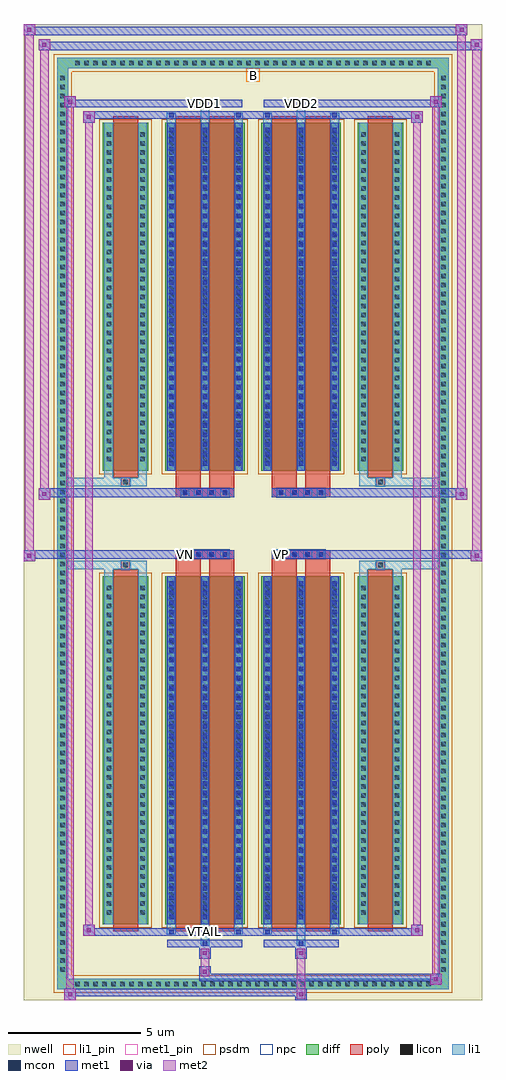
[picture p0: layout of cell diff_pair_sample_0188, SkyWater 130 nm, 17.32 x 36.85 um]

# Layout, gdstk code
import gdstk
lib = gdstk.Library(unit=1e-6, precision=5e-09)
def R(c, l, rs):  # rectangles x0, y0, x1, y1
    for r in rs: c.add(gdstk.rectangle(r[:2], r[2:], *l))
def A(c, l, x, y, w, h, nx, ny, dx, dy):  # array of equal rectangles
    R(c, l, [(x+i*dx, y+j*dy, x+i*dx+w, y+j*dy+h) for i in range(nx) for j in range(ny)])
def P(c, l, *ps):  # polygons
    for p in ps: c.add(gdstk.Polygon(p, *l))
nwell = (64, 20)
diff = (65, 20)
poly = (66, 20)
licon = (66, 44)
li1_pin = (67, 16)
li1 = (67, 20)
mcon = (67, 44)
met1_pin = (68, 16)
met1 = (68, 20)
via = (68, 44)
met2 = (69, 20)
psdm = (94, 20)
npc = (95, 20)

diff_pair_sample_0188 = lib.new_cell('diff_pair_sample_0188')
R(diff_pair_sample_0188, nwell, [(-8.66,-17.99,8.66,18.86), (-5.98,-16.18,-0.01,-0.8), (0.01,-16.18,5.98,-0.8), (-5.98,0.8,-0.01,16.18), (0.01,0.8,5.98,16.18)])
A(diff_pair_sample_0188, diff, -6.835, -17.59, 0.41, 0.41, 40, 2, 0.34, 34.77)
A(diff_pair_sample_0188, diff, -7.39, -17.035, 0.41, 0.41, 1, 100, 0, 0.34)
A(diff_pair_sample_0188, diff, 6.98, -17.035, 0.41, 0.41, 1, 100, 0, 0.34)
R(diff_pair_sample_0188, diff, [(-6.835,-17.59,6.835,-17.18), (-7.39,-17.035,-6.98,17.035), (6.98,-17.035,7.39,17.035), (-5.67,-15.135,-3.95,-1.985), (-3.31,-15.135,-0.32,-1.985), (0.32,-15.135,3.31,-1.985), (3.95,-15.135,5.67,-1.985), (-5.67,1.985,-3.95,15.135), (-3.31,1.985,-0.32,15.135), (0.32,1.985,3.31,15.135), (3.95,1.985,5.67,15.135), (-6.835,17.18,6.835,17.59)])
P(diff_pair_sample_0188, diff, [(7.39,17.59),(-7.39,17.59),(-7.39,-17.18),(-6.98,-17.18),(-6.98,17.18),(6.98,17.18),(6.98,-17.18),(-6.98,-17.18),(-7.39,-17.18),(-7.39,-17.59),(7.39,-17.59)])
A(diff_pair_sample_0188, poly, -2.73, -1.33, 0.33, 0.33, 4, 2, 0.5, 2.33)
A(diff_pair_sample_0188, poly, 0.9, -1.33, 0.33, 0.33, 4, 2, 0.5, 2.33)
R(diff_pair_sample_0188, poly, [(-5.28,-15.385,-4.34,-1.735), (-2.92,-15.385,-1.98,-1.735), (-1.65,-15.385,-0.71,-1.735), (0.71,-15.385,1.65,-1.735), (1.98,-15.385,2.92,-1.735), (4.34,-15.385,5.28,-1.735), (-4.975,-1.735,-4.645,-1.405), (-4.975,-1.735,-4.645,-1.405), (-2.92,-1.735,-1.98,-1.33), (-1.65,-1.735,-0.71,-1.33), (0.71,-1.735,1.65,-1.33), (1.98,-1.735,2.92,-1.33), (4.645,-1.735,4.975,-1.405), (4.645,-1.735,4.975,-1.405), (-2.92,-1.33,-0.71,-1), (0.71,-1.33,2.92,-1), (-2.92,1,-0.71,1.33), (0.71,1,2.92,1.33), (-2.92,1.33,-1.98,1.735), (-1.65,1.33,-0.71,1.735), (0.71,1.33,1.65,1.735), (1.98,1.33,2.92,1.735), (-4.975,1.405,-4.645,1.735), (-4.975,1.405,-4.645,1.735), (4.645,1.405,4.975,1.735), (4.645,1.405,4.975,1.735), (-5.28,1.735,-4.34,15.385), (-2.92,1.735,-1.98,15.385), (-1.65,1.735,-0.71,15.385), (0.71,1.735,1.65,15.385), (1.98,1.735,2.92,15.385), (4.34,1.735,5.28,15.385)])
A(diff_pair_sample_0188, licon, -6.715, -17.47, 0.17, 0.17, 40, 2, 0.34, 34.77)
A(diff_pair_sample_0188, licon, -7.27, -16.915, 0.17, 0.17, 1, 100, 0, 0.34)
A(diff_pair_sample_0188, licon, 7.1, -16.915, 0.17, 0.17, 1, 100, 0, 0.34)
A(diff_pair_sample_0188, licon, -5.53, -14.765, 0.17, 0.17, 1, 37, 0, 0.34)
A(diff_pair_sample_0188, licon, -4.26, -14.765, 0.17, 0.17, 1, 37, 0, 0.34)
A(diff_pair_sample_0188, licon, -3.17, -14.765, 0.17, 0.17, 3, 37, 1.27, 0.34)
A(diff_pair_sample_0188, licon, 0.46, -14.765, 0.17, 0.17, 3, 37, 1.27, 0.34)
A(diff_pair_sample_0188, licon, 4.09, -14.765, 0.17, 0.17, 1, 37, 0, 0.34)
A(diff_pair_sample_0188, licon, 5.36, -14.765, 0.17, 0.17, 1, 37, 0, 0.34)
A(diff_pair_sample_0188, licon, -2.65, -1.25, 0.17, 0.17, 4, 2, 0.5, 2.33)
A(diff_pair_sample_0188, licon, 0.98, -1.25, 0.17, 0.17, 4, 2, 0.5, 2.33)
A(diff_pair_sample_0188, licon, -5.53, 2.355, 0.17, 0.17, 1, 37, 0, 0.34)
A(diff_pair_sample_0188, licon, -4.26, 2.355, 0.17, 0.17, 1, 37, 0, 0.34)
A(diff_pair_sample_0188, licon, -3.17, 2.355, 0.17, 0.17, 3, 37, 1.27, 0.34)
A(diff_pair_sample_0188, licon, 0.46, 2.355, 0.17, 0.17, 3, 37, 1.27, 0.34)
A(diff_pair_sample_0188, licon, 4.09, 2.355, 0.17, 0.17, 1, 37, 0, 0.34)
A(diff_pair_sample_0188, licon, 5.36, 2.355, 0.17, 0.17, 1, 37, 0, 0.34)
R(diff_pair_sample_0188, licon, [(-4.895,-1.655,-4.725,-1.485), (4.725,-1.655,4.895,-1.485), (-4.895,1.485,-4.725,1.655), (4.725,1.485,4.895,1.655)])
R(diff_pair_sample_0188, li1_pin, [(-0.25,16.68,0.25,17.18)])
A(diff_pair_sample_0188, li1, -6.795, -17.55, 0.33, 0.33, 40, 2, 0.34, 34.77)
A(diff_pair_sample_0188, li1, -7.35, -16.995, 0.33, 0.33, 1, 100, 0, 0.34)
A(diff_pair_sample_0188, li1, 7.02, -16.995, 0.33, 0.33, 1, 100, 0, 0.34)
A(diff_pair_sample_0188, li1, -3.25, -15.135, 0.33, 13.15, 3, 2, 1.27, 17.12)
A(diff_pair_sample_0188, li1, 0.38, -15.135, 0.33, 13.15, 3, 2, 1.27, 17.12)
A(diff_pair_sample_0188, li1, -3.17, -14.945, 0.17, 0.17, 3, 36, 1.27, 0.36)
A(diff_pair_sample_0188, li1, -3.17, -14.945, 0.17, 12.77, 3, 2, 1.27, 17.12)
A(diff_pair_sample_0188, li1, 0.46, -14.945, 0.17, 0.17, 3, 36, 1.27, 0.36)
A(diff_pair_sample_0188, li1, 0.46, -14.945, 0.17, 12.77, 3, 2, 1.27, 17.12)
A(diff_pair_sample_0188, li1, -5.61, -14.845, 0.33, 0.33, 1, 37, 0, 0.34)
A(diff_pair_sample_0188, li1, -4.34, -14.845, 0.33, 0.33, 1, 37, 0, 0.34)
A(diff_pair_sample_0188, li1, -3.25, -14.845, 0.33, 0.33, 3, 37, 1.27, 0.34)
A(diff_pair_sample_0188, li1, 0.38, -14.845, 0.33, 0.33, 3, 37, 1.27, 0.34)
A(diff_pair_sample_0188, li1, 4.01, -14.845, 0.33, 0.33, 1, 37, 0, 0.34)
A(diff_pair_sample_0188, li1, 5.28, -14.845, 0.33, 0.33, 1, 37, 0, 0.34)
A(diff_pair_sample_0188, li1, -2.73, -1.33, 0.33, 0.33, 4, 2, 0.5, 2.33)
A(diff_pair_sample_0188, li1, 0.9, -1.33, 0.33, 0.33, 4, 2, 0.5, 2.33)
A(diff_pair_sample_0188, li1, -3.17, 2.175, 0.17, 0.17, 3, 36, 1.27, 0.36)
A(diff_pair_sample_0188, li1, 0.46, 2.175, 0.17, 0.17, 3, 36, 1.27, 0.36)
A(diff_pair_sample_0188, li1, -5.61, 2.275, 0.33, 0.33, 1, 37, 0, 0.34)
A(diff_pair_sample_0188, li1, -4.34, 2.275, 0.33, 0.33, 1, 37, 0, 0.34)
A(diff_pair_sample_0188, li1, -3.25, 2.275, 0.33, 0.33, 3, 37, 1.27, 0.34)
A(diff_pair_sample_0188, li1, 0.38, 2.275, 0.33, 0.33, 3, 37, 1.27, 0.34)
A(diff_pair_sample_0188, li1, 4.01, 2.275, 0.33, 0.33, 1, 37, 0, 0.34)
A(diff_pair_sample_0188, li1, 5.28, 2.275, 0.33, 0.33, 1, 37, 0, 0.34)
R(diff_pair_sample_0188, li1, [(-7.39,-17.59,-6.98,-17.18), (-7.39,-17.59,-6.98,-17.18), (-6.98,-17.59,6.98,-17.18), (6.98,-17.59,7.39,-17.18), (6.98,-17.59,7.39,-17.18), (-7.39,-17.18,-6.98,17.18), (6.98,-17.18,7.39,17.18), (-1.98,-15.94,-1.65,-15.135), (-1.9,-15.94,-1.73,-15.77), (1.65,-15.94,1.98,-15.135), (1.73,-15.94,1.9,-15.77), (-3.25,-15.51,-2.92,-15.135), (-3.17,-15.51,-3,-15.34), (-0.71,-15.51,-0.38,-15.135), (-0.63,-15.51,-0.46,-15.34), (0.38,-15.51,0.71,-15.135), (0.46,-15.51,0.63,-15.34), (2.92,-15.51,3.25,-15.135), (3,-15.51,3.17,-15.34), (-5.61,-15.135,-5.28,-1.985), (-4.34,-15.135,-4.01,-1.985), (4.01,-15.135,4.34,-1.985), (5.28,-15.135,5.61,-1.985), (-5.61,-1.985,-5.28,-1.405), (-4.34,-1.985,-4.01,-1.405), (4.01,-1.985,4.34,-1.405), (5.28,-1.985,5.61,-1.405), (-7.39,-1.735,-4.975,-1.405), (-5.61,-1.735,-4.975,-1.405), (-4.975,-1.735,-4.645,-1.405), (-4.645,-1.735,-4.01,-1.405), (4.01,-1.735,4.645,-1.405), (4.645,-1.735,4.975,-1.405), (4.645,-1.735,7.39,-1.405), (4.975,-1.735,5.61,-1.405), (-7.39,1.405,-4.975,1.735), (-5.61,1.405,-4.975,1.735), (-5.61,1.405,-5.28,1.985), (-4.975,1.405,-4.645,1.735), (-4.645,1.405,-4.01,1.735), (-4.34,1.405,-4.01,1.985), (4.01,1.405,4.645,1.735), (4.01,1.405,4.34,1.985), (4.645,1.405,4.975,1.735), (4.645,1.405,7.39,1.735), (4.975,1.405,5.61,1.735), (5.28,1.405,5.61,1.985), (-5.61,1.985,-5.28,15.135), (-4.34,1.985,-4.01,15.135), (4.01,1.985,4.34,15.135), (5.28,1.985,5.61,15.135), (-3.25,15.135,-2.92,15.51), (-1.98,15.135,-1.65,15.94), (-0.71,15.135,-0.38,15.51), (0.38,15.135,0.71,15.51), (1.65,15.135,1.98,15.94), (2.92,15.135,3.25,15.51), (-3.17,15.34,-3,15.51), (-0.63,15.34,-0.46,15.51), (0.46,15.34,0.63,15.51), (3,15.34,3.17,15.51), (-1.9,15.77,-1.73,15.94), (1.73,15.77,1.9,15.94), (-7.39,17.18,-6.98,17.59), (-7.39,17.18,-6.98,17.59), (-6.98,17.18,6.98,17.59), (6.98,17.18,7.39,17.59), (6.98,17.18,7.39,17.59)])
A(diff_pair_sample_0188, mcon, -3.17, -14.945, 0.17, 0.17, 3, 36, 1.27, 0.36)
A(diff_pair_sample_0188, mcon, 0.46, -14.945, 0.17, 0.17, 3, 36, 1.27, 0.36)
A(diff_pair_sample_0188, mcon, -2.65, -1.25, 0.17, 0.17, 4, 2, 0.5, 2.33)
A(diff_pair_sample_0188, mcon, 0.98, -1.25, 0.17, 0.17, 4, 2, 0.5, 2.33)
A(diff_pair_sample_0188, mcon, -3.17, 2.175, 0.17, 0.17, 3, 36, 1.27, 0.36)
A(diff_pair_sample_0188, mcon, 0.46, 2.175, 0.17, 0.17, 3, 36, 1.27, 0.36)
R(diff_pair_sample_0188, mcon, [(-1.9,-15.94,-1.73,-15.77), (1.73,-15.94,1.9,-15.77), (-3.17,-15.51,-3,-15.34), (-0.63,-15.51,-0.46,-15.34), (0.46,-15.51,0.63,-15.34), (3,-15.51,3.17,-15.34), (-3.17,15.34,-3,15.51), (-0.63,15.34,-0.46,15.51), (0.46,15.34,0.63,15.51), (3,15.34,3.17,15.51), (-1.9,15.77,-1.73,15.94), (1.73,15.77,1.9,15.94)])
R(diff_pair_sample_0188, met1_pin, [(-1.95,-15.55,-1.68,-15.28), (-2.7,-1.29,-2.43,-1.02), (0.93,-1.29,1.2,-1.02), (-1.95,15.73,-1.68,16), (1.68,15.73,1.95,16)])
A(diff_pair_sample_0188, met1, -3.23, -15.135, 0.29, 13.15, 3, 2, 1.27, 17.12)
A(diff_pair_sample_0188, met1, 0.4, -15.135, 0.29, 13.15, 3, 2, 1.27, 17.12)
A(diff_pair_sample_0188, met1, -3.23, -15.005, 0.29, 0.29, 3, 36, 1.27, 0.36)
A(diff_pair_sample_0188, met1, 0.4, -15.005, 0.29, 0.29, 3, 36, 1.27, 0.36)
A(diff_pair_sample_0188, met1, -2.71, -1.31, 0.29, 0.29, 4, 2, 0.5, 2.33)
A(diff_pair_sample_0188, met1, 0.92, -1.31, 0.29, 0.29, 4, 2, 0.5, 2.33)
A(diff_pair_sample_0188, met1, -3.23, 2.115, 0.29, 0.29, 3, 36, 1.27, 0.36)
A(diff_pair_sample_0188, met1, 0.4, 2.115, 0.29, 0.29, 3, 36, 1.27, 0.36)
R(diff_pair_sample_0188, met1, [(-7.12,-17.99,-6.69,-17.56), (1.6,-17.99,2.03,-17.56), (-7.12,-17.85,2.03,-17.56), (6.69,-17.42,7.12,-16.99), (-2.03,-17.28,7.12,-16.99), (-2.03,-17.14,-1.6,-16.71), (-2.03,-16.43,-1.6,-16), (1.6,-16.43,2.03,-16), (-3.23,-16,-0.4,-15.71), (-1.96,-16,-1.67,-15.71), (0.4,-16,3.23,-15.71), (1.67,-16,1.96,-15.71), (-6.41,-15.57,-5.98,-15.14), (-6.41,-15.57,-3.23,-15.28), (-3.23,-15.57,-2.94,-15.28), (-3.23,-15.57,-0.4,-15.28), (-0.69,-15.57,-0.4,-15.28), (-0.4,-15.57,0.4,-15.28), (0.4,-15.57,0.69,-15.28), (0.4,-15.57,3.23,-15.28), (2.94,-15.57,3.23,-15.28), (3.23,-15.57,6.41,-15.28), (5.98,-15.57,6.41,-15.14), (-8.66,-1.43,-8.23,-1), (8.23,-1.43,8.66,-1), (-8.66,-1.33,-0.71,-1), (-2.92,-1.33,-0.71,-1), (0.71,-1.33,2.92,-1), (0.71,-1.33,8.66,-1), (-8.09,0.9,-7.66,1.33), (7.66,0.9,8.09,1.33), (-8.09,1,-2.92,1.33), (-2.92,1,-0.71,1.33), (0.71,1,2.92,1.33), (2.92,1,8.09,1.33), (-6.41,15.14,-5.98,15.57), (5.98,15.14,6.41,15.57), (-6.41,15.28,-3.23,15.57), (-3.23,15.28,-2.94,15.57), (-3.23,15.28,-0.4,15.57), (-0.69,15.28,-0.4,15.57), (-0.4,15.28,0.4,15.57), (0.4,15.28,0.69,15.57), (0.4,15.28,3.23,15.57), (2.94,15.28,3.23,15.57), (3.23,15.28,6.41,15.57), (-7.12,15.71,-6.69,16.14), (-7.12,15.71,-3.23,16), (-3.23,15.71,-0.4,16), (-1.96,15.71,-1.67,16), (0.4,15.71,3.23,16), (1.67,15.71,1.96,16), (3.23,15.71,7.12,16), (6.69,15.71,7.12,16.14), (-8.09,17.86,-7.66,18.29), (-8.09,17.86,-5.98,18.19), (-5.98,17.86,5.98,18.19), (5.98,17.86,8.66,18.19), (8.23,17.86,8.66,18.29), (-8.66,18.43,-8.23,18.86), (-8.66,18.43,-5.98,18.76), (-5.98,18.43,5.98,18.76), (5.98,18.43,8.09,18.76), (7.66,18.43,8.09,18.86)])
R(diff_pair_sample_0188, via, [(-6.98,-17.85,-6.83,-17.7), (1.74,-17.85,1.89,-17.7), (6.83,-17.28,6.98,-17.13), (-1.89,-17,-1.74,-16.85), (-1.89,-16.29,-1.74,-16.14), (1.74,-16.29,1.89,-16.14), (-6.27,-15.43,-6.12,-15.28), (6.12,-15.43,6.27,-15.28), (-8.52,-1.29,-8.37,-1.14), (8.37,-1.29,8.52,-1.14), (-7.95,1.04,-7.8,1.19), (7.8,1.04,7.95,1.19), (-6.27,15.28,-6.12,15.43), (6.12,15.28,6.27,15.43), (-6.98,15.85,-6.83,16), (6.83,15.85,6.98,16), (-7.95,18,-7.8,18.15), (8.37,18,8.52,18.15), (-8.52,18.57,-8.37,18.72), (7.8,18.57,7.95,18.72)])
R(diff_pair_sample_0188, met2, [(-7.12,-17.99,-6.69,-17.56), (-7.05,-17.99,-6.76,16.14), (-6.76,-17.99,-6.69,-17.56), (-7.07,-17.94,-6.74,-17.61), (1.65,-17.94,1.98,-17.61), (1.65,-17.61,1.98,-16.38), (6.69,-17.42,7.12,-16.99), (6.76,-17.42,7.05,16.14), (7.05,-17.42,7.12,-16.99), (6.74,-17.37,7.07,-17.04), (-1.98,-17.09,-1.65,-16.76), (-1.98,-16.76,-1.65,-16.38), (-1.98,-16.38,-1.65,-16.05), (1.65,-16.38,1.98,-16.05), (-6.41,-15.57,-5.98,-15.14), (-6.34,-15.57,-6.05,15.57), (-6.05,-15.57,-5.98,-15.14), (5.98,-15.57,6.41,-15.14), (6.05,-15.57,6.34,15.57), (6.34,-15.57,6.41,-15.14), (-6.36,-15.52,-6.03,-15.19), (6.03,-15.52,6.36,-15.19), (-8.66,-1.43,-8.23,-1), (-8.61,-1.43,-8.28,18.86), (-8.28,-1.43,-8.23,-1), (8.23,-1.43,8.66,-1), (8.28,-1.43,8.61,18.29), (8.61,-1.43,8.66,-1), (-8.61,-1.38,-8.28,-1.05), (8.28,-1.38,8.61,-1.05), (-8.09,0.9,-7.66,1.33), (-8.04,0.9,-7.71,18.29), (-7.71,0.9,-7.66,1.33), (7.66,0.9,8.09,1.33), (7.71,0.9,8.04,18.86), (8.04,0.9,8.09,1.33), (-8.04,0.95,-7.71,1.28), (7.71,0.95,8.04,1.28), (-6.41,15.14,-5.98,15.57), (-6.05,15.14,-5.98,15.57), (5.98,15.14,6.41,15.57), (6.34,15.14,6.41,15.57), (-6.36,15.19,-6.03,15.52), (6.03,15.19,6.36,15.52), (-7.12,15.71,-6.69,16.14), (-6.76,15.71,-6.69,16.14), (6.69,15.71,7.12,16.14), (7.05,15.71,7.12,16.14), (-7.07,15.76,-6.74,16.09), (6.74,15.76,7.07,16.09), (-8.09,17.86,-7.66,18.29), (-7.71,17.86,-7.66,18.29), (8.23,17.86,8.66,18.29), (8.61,17.86,8.66,18.29), (-8.04,17.91,-7.71,18.24), (8.28,17.91,8.61,18.24), (-8.66,18.43,-8.23,18.86), (-8.28,18.43,-8.23,18.86), (7.66,18.43,8.09,18.86), (8.04,18.43,8.09,18.86), (-8.61,18.48,-8.28,18.81), (7.71,18.48,8.04,18.81)])
R(diff_pair_sample_0188, psdm, [(-5.8,-15.265,-3.82,-1.855), (-3.44,-15.265,-0.19,-1.855), (0.19,-15.265,3.44,-1.855), (3.82,-15.265,5.8,-1.855), (-5.8,1.855,-3.82,15.265), (-3.44,1.855,-0.19,15.265), (0.19,1.855,3.44,15.265), (3.82,1.855,5.8,15.265)])
P(diff_pair_sample_0188, psdm, [(7.52,17.72),(-7.52,17.72),(-7.52,-17.05),(-6.85,-17.05),(-6.85,17.05),(6.85,17.05),(6.85,-17.05),(-6.85,-17.05),(-7.52,-17.05),(-7.52,-17.72),(7.52,-17.72)])
A(diff_pair_sample_0188, npc, -2.75, -1.35, 0.37, 0.37, 4, 2, 0.5, 2.33)
A(diff_pair_sample_0188, npc, 0.88, -1.35, 0.37, 0.37, 4, 2, 0.5, 2.33)
R(diff_pair_sample_0188, npc, [(-4.995,-1.755,-4.625,-1.385), (4.625,-1.755,4.995,-1.385), (-2.75,-1.35,-1.88,-0.98), (-2.75,-1.35,-1.88,-0.98), (-2.25,-1.35,-1.38,-0.98), (-2.25,-1.35,-1.38,-0.98), (-1.75,-1.35,-0.88,-0.98), (-1.75,-1.35,-0.88,-0.98), (0.88,-1.35,1.75,-0.98), (0.88,-1.35,1.75,-0.98), (1.38,-1.35,2.25,-0.98), (1.38,-1.35,2.25,-0.98), (1.88,-1.35,2.75,-0.98), (1.88,-1.35,2.75,-0.98), (-2.75,0.98,-1.88,1.35), (-2.75,0.98,-1.88,1.35), (-2.25,0.98,-1.38,1.35), (-2.25,0.98,-1.38,1.35), (-1.75,0.98,-0.88,1.35), (-1.75,0.98,-0.88,1.35), (0.88,0.98,1.75,1.35), (0.88,0.98,1.75,1.35), (1.38,0.98,2.25,1.35), (1.38,0.98,2.25,1.35), (1.88,0.98,2.75,1.35), (1.88,0.98,2.75,1.35), (-4.995,1.385,-4.625,1.755), (4.625,1.385,4.995,1.755)])
diff_pair_sample_0188.add(gdstk.Label('VTAIL', (-1.815,-15.415), layer=68, texttype=5))
diff_pair_sample_0188.add(gdstk.Label('VN', (-2.565,-1.155), layer=68, texttype=5))
diff_pair_sample_0188.add(gdstk.Label('VP', (1.065,-1.155), layer=68, texttype=5))
diff_pair_sample_0188.add(gdstk.Label('B', (0,16.93), layer=67, texttype=5))
diff_pair_sample_0188.add(gdstk.Label('VDD2', (1.815,15.865), layer=68, texttype=5))
diff_pair_sample_0188.add(gdstk.Label('VDD1', (-1.815,15.865), layer=68, texttype=5))

lib.write_gds('diff_pair_sample_0188.gds')
